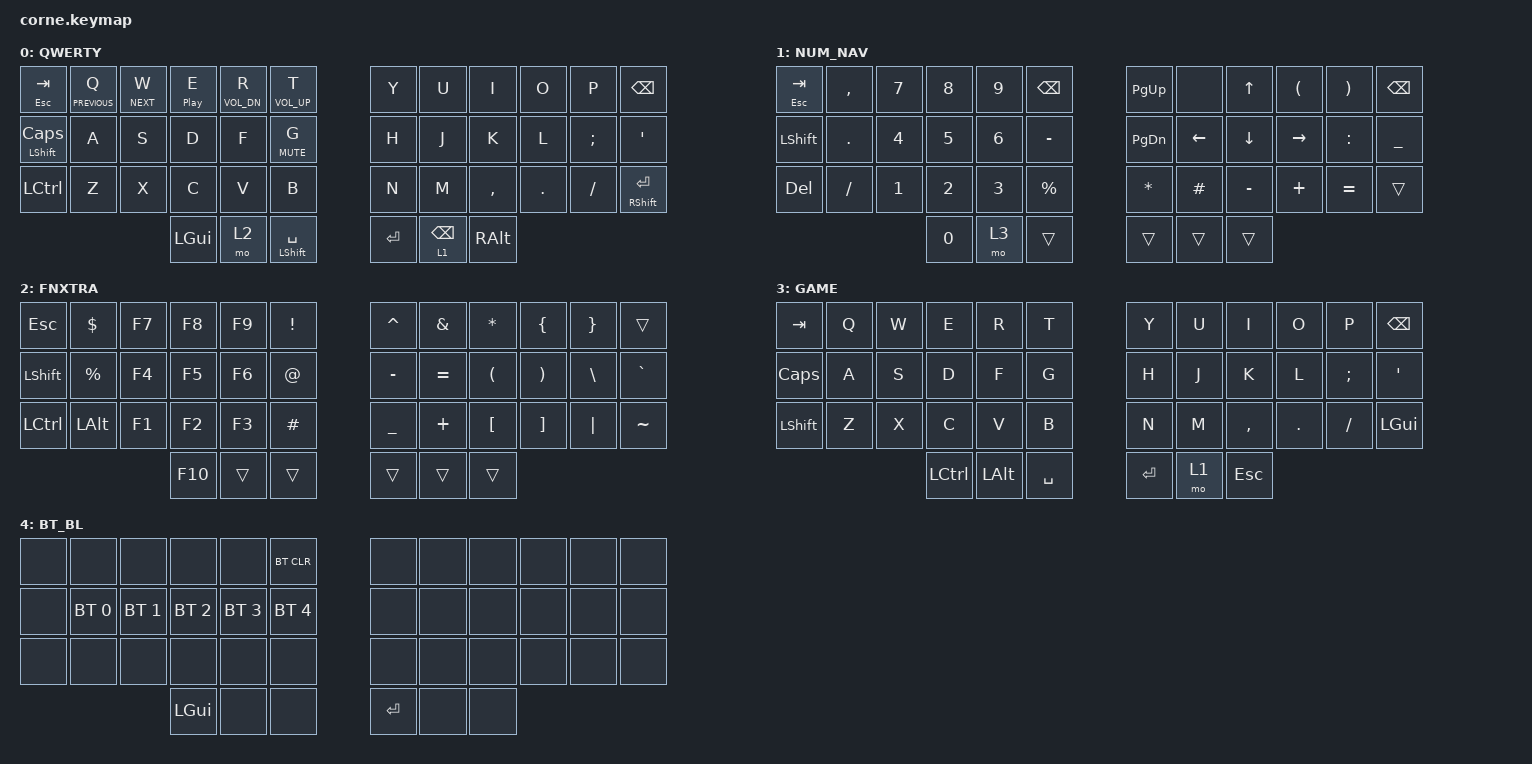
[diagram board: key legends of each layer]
#include <behaviors.dtsi>
#include <dt-bindings/zmk/keys.h>
#include <dt-bindings/zmk/rgb.h>
#include <dt-bindings/zmk/bt.h>
#include <dt-bindings/zmk/outputs.h>

#define QWERTY 0
#define NUM_NAV  1
#define FNXTRA  2
#define GAME 3
#define BT_BL 4

#define COMBO_TIMEOUT_SHORT 30

&lt {
    flavor = "balanced";
    tapping-term-ms = <200>;
};

/ {
    macros {
         // this macro will produce a pair of parenthesis ( ) and move the cursor inside
        pair_par: pair_par {
            label = "pair_parentheses";
            compatible = "zmk,behavior-macro";
            #binding-cells = <0>;
            wait-ms = <10>;
            tap-ms = <10>;
            bindings = <&kp LPAR &kp RPAR &kp LEFT>;
        };
        // this macro will be triggered by a combo to produce a pair of brackets [ ] and move the cursor inside 
        pair_bkt: pair_bkt {
            label = "pair_brackets";
            compatible = "zmk,behavior-macro";
            #binding-cells = <0>;
            wait-ms = <10>;
            tap-ms = <10>;
            bindings = <&kp LBKT &kp RBKT &kp LEFT>;
        };
        // this macro will be triggered by a combo to produce a pair of Braces { } and move the cursor inside 
        pair_brc: pair_brc {
            label = "pair_braces";
            compatible = "zmk,behavior-macro";
            #binding-cells = <0>;
            wait-ms = <10>;
            tap-ms = <10>;
            bindings = <&kp LBRC &kp RBRC &kp LEFT>;
        };
        // this macro will be triggered by a combo to produce a pair of Single Quotes and move the cursor inside 
        pair_sqt: pair_sqt {
            label = "pair_single_quotes";
            compatible = "zmk,behavior-macro";
            #binding-cells = <0>;
            wait-ms = <10>;
            tap-ms = <10>;
            bindings = <&kp SQT &kp SQT &kp LEFT>;
        };
       // this macro will be triggered by a combo to produce a pair of Double Quotes and move the cursor inside 
        pair_dqt: pair_dqt {
            label = "pair_double_quotes";
            compatible = "zmk,behavior-macro";
            #binding-cells = <0>;
            wait-ms = <10>;
            tap-ms = <10>;
            bindings = <&kp DQT &kp DQT &kp LEFT>;
        };
        // this macro will work be triggered by a combo to produce a pair of BackTicks ` ` and move the cursor inside 
        pair_btk: pair_btk {
            label = "pair_backticks";
            compatible = "zmk,behavior-macro";
            #binding-cells = <0>;
            wait-ms = <10>;
            tap-ms = <10>;
            bindings = <&kp GRAVE &kp GRAVE &kp LEFT>;
        };
        // this macro will work be triggered by a combo to produce a three pair of Single backTicks and move the cursor inside   ``` ```
        pair_cbk: pair_cbk {
            label = "pair_code_block";
            compatible = "zmk,behavior-macro";
            #binding-cells = <0>;
            wait-ms = <10>;
            tap-ms = <10>;
            bindings = <&kp GRAVE &kp GRAVE &kp GRAVE &kp GRAVE &kp GRAVE &kp GRAVE &kp LEFT &kp LEFT &kp LEFT>;
        };
    };

    combos {
        compatible = "zmk,combos";

        // this will produce both brackets [] and move the cursor inside 
        combo_bkt_cv { // [|] //                         //  ╭────────────────────────╮   ╭────────────────────────╮  
            timeout-ms = <COMBO_TIMEOUT_SHORT>;          //  │  0   1   2   3   4   5 │   │  6   7   8   9  10  11 │   
            key-positions = <27 28>; // cv               //  │ 12  13  14  15  16  17 │   │ 18  19  20  21  22  23 │
            bindings = <&pair_bkt>;                      //  │ 24  25  26  --  --  29 │   │ 30  31  32  33  34  35 │
            layers = <0 1 2>;                            //  ╰───────────╮ 36  37  38 │   │ 39  40  41 ╭───────────╯
                                                         //              ╰────────────╯   ╰────────────╯  
        };
        // this will produce both parenthesis () and move the cursor inside 
        combo_par_df { // (|) //                          //  ╭────────────────────────╮   ╭────────────────────────╮
            timeout-ms = <COMBO_TIMEOUT_SHORT>;           //  │  0   1   2   3   4   5 │   │  6   7   8   9  10  11 │
            key-positions = <15 16>; // df                //  │ 12  13  14  --  --  17 │   │ 18  19  20  21  22  23 │
            bindings = <&pair_par>;                       //  │ 24  25  26  27  28  29 │   │ 30  31  32  33  34  35 │
            layers = <0 1 2>;                             //  ╰───────────╮ 36  37  38 │   │ 39  40  41 ╭───────────╯
                                                          //              ╰────────────╯   ╰────────────╯  
        };
        // this will produce both braces {} and move the cursor inside 
        combo_brc_er { // {|} //                          //  ╭────────────────────────╮   ╭────────────────────────╮
            timeout-ms = <COMBO_TIMEOUT_SHORT>;           //  │  0   1   2  --  --   5 │   │  6   7   8   9  10  11 │
            key-positions = <3 4>; // er                  //  │ 12  13  14  15  16  17 │   │ 18  19  20  21  22  23 │
            bindings = <&pair_brc>;                       //  │ 24  25  26  27  28  29 │   │ 30  31  32  33  34  35 │
            layers = <0 1 2>;                             //  ╰───────────╮ 36  37  38 │   │ 39  40  41 ╭───────────╯
                                                          //              ╰────────────╯   ╰────────────╯  
        };
        // this will produce both backticks ` ` and move the cursor inside 
        combo_bt_io { // `|` //                           //  ╭────────────────────────╮   ╭────────────────────────╮
            timeout-ms = <COMBO_TIMEOUT_SHORT>;           //  │  0   1   2   3   4   5 │   │  6   7   8  --  --  11 │
            key-positions = <9 10>; // io                 //  │ 12  13  14  15  16  17 │   │ 18  19  20  21  22  23 │
            bindings = <&pair_btk>;                       //  │ 24  25  26  27  28  29 │   │ 30  31  32  33  34  35 │
            layers = <0 1 2>;                             //  ╰───────────╮ 36  37  38 │   │ 39  40  41 ╭───────────╯
                                                          //              ╰────────────╯   ╰────────────╯  
        };
        // this will produce both single quotes ' ' and move the cursor inside 
        combo_sqt_kl { // '|' //                          //  ╭────────────────────────╮   ╭────────────────────────╮
            timeout-ms = <COMBO_TIMEOUT_SHORT>;           //  │  0   1   2   3   4   5 │   │  6   7   8   9  10  11 │
            key-positions = <21 22>; // kl                //  │ 12  13  14  15  16  17 │   │ 18  19  20  --  --  23 │
            bindings = <&pair_sqt>;                       //  │ 24  25  26  27  28  29 │   │ 30  31  32  33  34  35 │
            layers = <0 1 2>;                             //  ╰───────────╮ 36  37  38 │   │ 39  40  41 ╭───────────╯
                                                          //              ╰────────────╯   ╰────────────╯  
        };
        // this will produce both double quotes " " and move the cursor inside 
        combo_dqt_commadot { // "|" //                    //  ╭────────────────────────╮   ╭────────────────────────╮
            timeout-ms = <COMBO_TIMEOUT_SHORT>;           //  │  0   1   2   3   4   5 │   │  6   7   8   9  10  11 │
            key-positions = <33 34>; // ,.                //  │ 12  13  14  15  16  17 │   │ 18  19  20  21  22  23 │
            bindings = <&pair_dqt>;                       //  │ 24  25  26  27  28  29 │   │ 30  31  32  --  --  35 │
            layers = <0 1 2>;                             //  ╰───────────╮ 36  37  38 │   │ 39  40  41 ╭───────────╯
                                                          //              ╰────────────╯   ╰────────────╯  
        };
        // this will produce three sets of backticks ``` ``` and move the cursor inside 
        combo_cbk { // ```|``` //                         //  ╭────────────────────────╮   ╭────────────────────────╮ 
            timeout-ms = <COMBO_TIMEOUT_SHORT>;           //  │  0   1   2   3   4   5 │   │  6   7   8   9  10  11 │
            key-positions = <24 35>; //bottom row pinky   //  │ 12  13  14  15  16  17 │   │ 18  19  20  21  22  23 │
            bindings = <&pair_cbk>;                       //  │ --  25  26  27  28  29 │   │ 30  31  32  33  34  -- │
            layers = <0 1 2>;                             //  ╰───────────╮ 36  37  38 │   │ 39  40  41 ╭───────────╯
                                                          //              ╰────────────╯   ╰────────────╯                             
        };  
        // this will toggle the bluetooth and bootloader layer 
        bluetooth_lshiftzx {                               //  ╭────────────────────────╮   ╭────────────────────────╮
            bindings = <&tog 3>;                           //  │  0   1   2   3   4   5 │   │  6   7   8   9  10  11 │
            key-positions = <24 25 26>; // Lshftzx         //  │ 12  13  14  15  16  17 │   │ 18  19  20  21  22  23 │
            layers = <0 1 2 3 4>;                          //  │ --  --  --  27  28  29 │   │ 30  31  32  33  34  35 │
            timeout-ms = <50>;                             //  ╰───────────╮ 36  37  38 │   │ 39  40  41 ╭───────────╯
                                                           //              ╰────────────╯   ╰────────────╯  
        };
         // this will toggle the gaming layer, regardless of current layer
        gaming_thumbrow_left {                             //  ╭────────────────────────╮   ╭────────────────────────╮
            bindings = <&tog 4>;                           //  │  0   1   2   3   4   5 │   │  6   7   8   9  10  11 │
            key-positions = <36 37 38>; // thumb row left  //  │ 12  13  14  15  16  17 │   │ 18  19  20  21  22  23 │
            layers = <0 1 2 3 4>;                          //  │ 24  25  26  27  28  29 │   │ 30  31  32  33  34  35 │
            timeout-ms = <50>;                             //  ╰───────────╮ --  --  -- │   │ 39  40  41 ╭───────────╯
                                                           //              ╰────────────╯   ╰────────────╯ 
        };
         // this will toggle the QUERTY layer, regardless of current layer
        home_middlethumbs {                                //  ╭────────────────────────╮   ╭────────────────────────╮
            bindings = <&tog 0>;                           //  │  0   1   2   3   4   5 │   │  6   7   8   9  10  11 │
            key-positions = <37 40>; // middle thumbs      //  │ 12  13  14  15  16  17 │   │ 18  19  20  21  22  23 │   
            layers = <0 1 2 3 4>;                          //  │ 24  25  26  27  28  29 │   │ 30  31  32  33  34  35 │
            timeout-ms = <50>;                             //  ╰───────────╮ 36  --  38 │   │ 39  --  41 ╭───────────╯
                                                           //              ╰────────────╯   ╰────────────╯ 
        };
        // this will toggle the NUM_NAV layer, regardless of current layer
        nums_layerthumbs {                                 //  ╭────────────────────────╮   ╭────────────────────────╮
            bindings = <&tog 1>;                           //  │  0   1   2   3   4   5 │   │  6   7   8   9  10  11 │
            key-positions = <36 41>; // outside thumbs     //  │ 12  13  14  15  16  17 │   │ 18  19  20  21  22  23 │ 
            layers = <0 1 2 3 4>;                          //  │ 24  25  26  27  28  29 │   │ 30  31  32  33  34  35 │
            timeout-ms = <50>;                             //  ╰───────────╮ --  37  38 │   │ 39  40  -- ╭───────────╯
                                                           //              ╰────────────╯   ╰────────────╯ 
        };
    };

    keymap {
        compatible = "zmk,keymap";

        QWERTY {
            // -----------------------------------------------------------------------------------------
            // | ESC(TAB)  |  Q(PREV)  |  W(NEXT)  |  E(PLAY)  |  R(VOL_DWN) |  T(VOL_UP) |     |  Y  |  U  |  I  |  O  |  P  |   BKSP    |
            // | SHFT(CAPS) |  A       |  S        |  D        |  F          |  G(MUTE)   |     |  H  |  J  |  K  |  L  |  ;  |     '     |
            // | CTRL       |  Z       |   X       |  C        |  V          |  B         |     |  N  |  M  |  ,  |  .  |  /  | SHFT(RET) |
            //                                     | GUI       | mo2         | shift space|     | ENT | mo1(backspace)  | ALT |
            //
            // additional functionality Hold Q for prev song, hold W for next song
            // hold E to play/pause, hold R to vol down, hold T to vol up
            // hold G to mute
            // hold TAB FOR ESC, hold SHIFT for CAPS, hold pinky enter for SHIFT 

           label = "QWERTY";
             bindings = <
             &mt ESC TAB  &mt C_PREVIOUS Q  &mt C_NEXT W  &mt C_PLAY_PAUSE E  &mt C_VOL_DN R  &mt C_VOL_UP T        &kp Y    &kp U  &kp I     &kp O    &kp P     &kp BSPC
          &mt LSHFT CAPS  &kp A             &kp S         &kp D               &kp F           &mt C_MUTE G          &kp H    &kp J  &kp K     &kp L    &kp SEMI  &kp SQT
             &kp LCTRL    &kp Z             &kp X         &kp C               &kp V           &kp B                 &kp N    &kp M  &kp COMMA &kp DOT  &kp FSLH  &mt RSHFT RET
                                                          &kp LGUI            &mo 2           &mt LSHFT SPACE       &kp RET  &lt 1 BACKSPACE  &kp RIGHT_ALT
            >; 
        };

        NUM_NAV {
            // -----------------------------------------------------------------------------------------
            // | TAB  |  ,  |  7  |  8  |  9  |BKSP |     | pgup  |XXXXXX|  UP  |  (   |    )|   BKSP     |
            // |SHFT  |  .  |  4  |  5  |  6  |MINUS|     | pgdwn | left | Down | right|  :  |      _     |
            // |DEL   |  /  |  1  |  2  |  3  |  %  |     |  *    |   #  |   -  |   +  |   = | SHIFT(RET) |
            //                    |  0  |_____|_____|     |_______|______|______|

            label = "NUM_NAV";
            bindings = <
    &mt ESC TAB  &kp COMMA  &kp N7  &kp N8  &kp N9  &kp BSPC       &kp PG_UP  &none     &kp UP     &kp LPAR  &kp RPAR   &kp BSPC
    &kp LSHFT    &kp DOT    &kp N4  &kp N5  &kp N6  &kp MINUS      &kp PG_DN  &kp LEFT  &kp DOWN   &kp RIGHT &kp COLON  &kp UNDER
    &kp DEL      &kp FSLH   &kp N1  &kp N2  &kp N3  &kp PRCNT      &kp ASTRK  &kp HASH  &kp MINUS  &kp PLUS  &kp EQUAL  &trans
                                    &kp N0  &mo 3   &trans         &trans     &trans    &trans
            >;
        };

        FNXTRA {
            // -----------------------------------------------------------------------------------------
            // | ESC   |  $   |  F7 | F8  | F9  |  !   |   |  ^  |  &  |  *  |  {  |  }  | ____ |
            // |SHIFT  |  %   |  F4 |  F5 | F6  |  @   |   |  -  |  =  |  (  |  )  |  \  |   `  |
            // | CTRL | LEFT_ALT |  F1 |  F2 | F3  |  #   |   |  _  |  +  |  [  |  ]  | "|" |   ~  |
            //                   | F10 |______|______|    |_____|_____|_____|

            label = "FNXTRA";
            bindings = <
   &kp ESC      &kp DLLR      &kp F7  &kp F8  &kp F9  &kp EXCL          &kp CARET  &kp AMPS    &kp ASTRK  &kp LBRC   &kp RBRC  &trans
   &kp LSHFT    &kp PRCNT     &kp F4  &kp F5  &kp F6  &kp AT            &kp MINUS  &kp EQUAL   &kp LPAR   &kp RPAR   &kp BSLH  &kp GRAV
   &kp LCTRL    &kp LEFT_ALT  &kp F1  &kp F2  &kp F3  &kp HASH          &kp UNDER  &kp PLUS    &kp LBKT   &kp RBKT   &kp PIPE  &kp TILDE
                              &kp F10 &trans  &trans                    &trans     &trans      &trans
            >;
        };

        GAME {
           // -----------------------------------------------------------------------------------------
            // | TAB  |  Q  |  W  |  E  |  R       |  T  |     |  Y      |  U    |   I  |    O  |    P  |   BKSP    |
            // | CAPS |  A  |  S  |  D  |  F       |  G  |     |  H      |  J    |   K  |    L  |    ;  |     '     |
            // |LSHFT |  Z  |  X  |  C  |  V       |  B  |     |  N      |  M    |   ,  |    .  |    /  | LGUI      |
            //                 | LCTRL | left alt | space  |     | ENT     | mo1   |  ESC |            

            label = "GAME";
            bindings = <
            &kp TAB   &kp Q  &kp W  &kp E     &kp R        &kp T     &kp Y     &kp U   &kp I     &kp O    &kp P     &kp BSPC
            &kp CAPS  &kp A  &kp S  &kp D     &kp F        &kp G     &kp H     &kp J   &kp K     &kp L    &kp SEMI  &kp SQT
            &kp LSHFT &kp Z  &kp X  &kp C     &kp V        &kp B     &kp N     &kp M   &kp COMMA &kp DOT  &kp FSLH  &kp LGUI
                                    &kp LCTRL &kp LEFT_ALT &kp SPACE &kp RET   &mo 1   &kp ESC
            >;
        };
// needs  update
        BT_BL {
           // -----------------------------------------------------------------------------------------
            // |XXXXX|BT PREV|BT NEXT|XXXXX|XXXXX| BT CLEAR |XXXXX|XXXXX|XXXXX|XXXXX|XXXXX|XXXXX|XXXXX|
            // |XXXXX| BT1   | BT2   | BT3 | BT4 | BT5      |XXXXX|XXXXX|XXXXX|XXXXX|XXXXX|XXXXX|XXXXX|
            // |XXXXX|XXXXX|XXXXX|XXXXX|XXXXX|XXXXX|        |XXXXX|XXXXX|XXXXX|XXXXX|XXXXX|XXXXX|
            //                   |LGUI |XXXXX|XXXXX|        | ENT |XXXXX|XXXXX|            

            label = "BT_BL";
            bindings = <
            &none &none        &none        &none        &none        &bt BT_CLR         &none    &none  &none     &none    &none     &none
            &none &bt BT_SEL 0 &bt BT_SEL 1 &bt BT_SEL 2 &bt BT_SEL 3 &bt BT_SEL 4       &none    &none  &none     &none    &none     &none
            &none &none        &none        &none        &none        &none              &none    &none  &none     &none    &none     &none
                                            &kp LGUI     &none        &none              &kp RET  &none  &none
            >;
        };
    };
};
